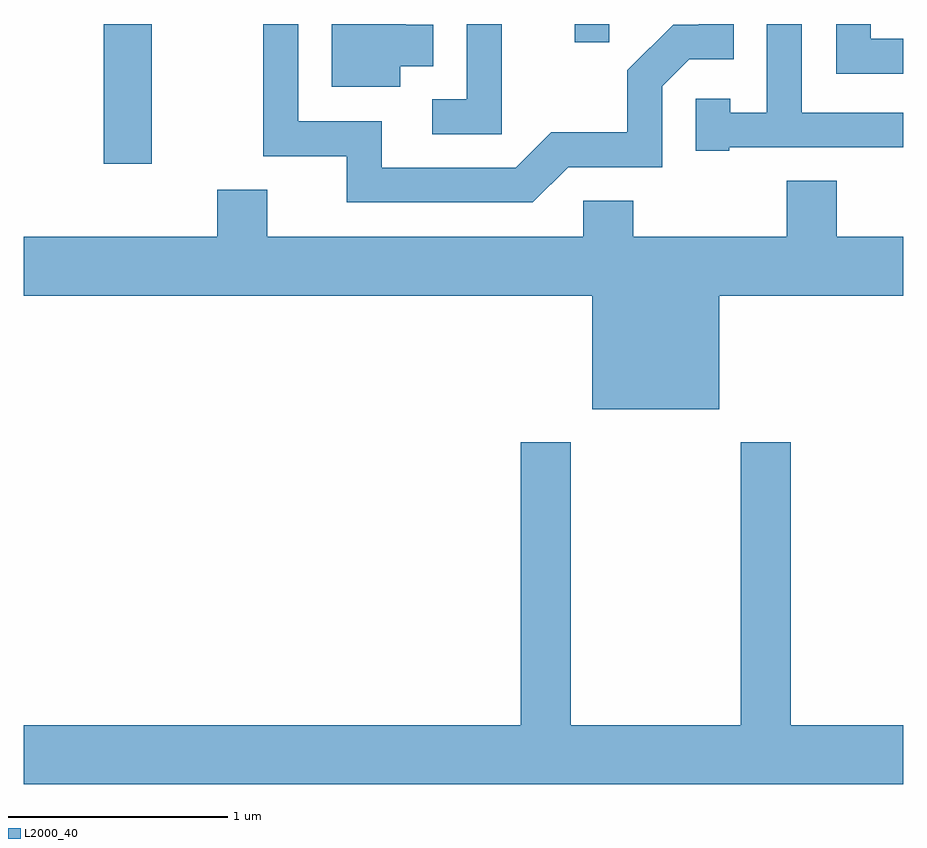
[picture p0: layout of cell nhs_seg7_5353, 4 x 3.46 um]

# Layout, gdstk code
import gdstk
lib = gdstk.Library(unit=1e-6, precision=1e-09)
def R(c, l, rs):  # rectangles x0, y0, x1, y1
    for r in rs: c.add(gdstk.rectangle(r[:2], r[2:], *l))
def P(c, l, *ps):  # polygons
    for p in ps: c.add(gdstk.Polygon(p, *l))
L2000_40 = (2000, 40)

nhs_seg7_5353 = lib.new_cell('nhs_seg7_5353')
R(nhs_seg7_5353, L2000_40, [(349.976,1681.616,350.194,1682.252), (352.116,1682.168,352.274,1682.252)])
P(nhs_seg7_5353, L2000_40, [(353.611,1682.184),(353.464,1682.184),(353.464,1682.252),(353.306,1682.252),(353.306,1682.026),(353.611,1682.026)],
  [(351.784,1682.252),(351.626,1682.252),(351.626,1681.909),(351.468,1681.909),(351.468,1681.751),(351.784,1681.751)],
  [(352.82,1681.691),(353.611,1681.691),(353.611,1681.849),(353.149,1681.849),(353.149,1682.252),(352.991,1682.252),(352.991,1681.849),(352.824,1681.849),(352.824,1681.913),(352.666,1681.913),(352.666,1681.676),(352.82,1681.676)],
  [(351.324,1682.061),(351.474,1682.061),(351.474,1682.249),(351.349,1682.249),(351.349,1682.252),(351.011,1682.252),(351.011,1681.966),(351.324,1681.966)],
  [(352.087,1681.601),(352.514,1681.601),(352.514,1681.969),(352.637,1682.091),(352.839,1682.091),(352.839,1682.252),(352.681,1682.252),(352.681,1682.249),(352.564,1682.249),(352.356,1682.042),(352.356,1681.759),(352.009,1681.759),(351.849,1681.599),(351.239,1681.599),(351.239,1681.809),(350.859,1681.809),(350.859,1682.252),(350.701,1682.252),(350.701,1681.651),(351.081,1681.651),(351.081,1681.441),(351.927,1681.441)],
  [(352.774,1681.016),(353.611,1681.016),(353.611,1681.284),(353.309,1681.284),(353.309,1681.539),(353.081,1681.539),(353.081,1681.284),(352.384,1681.284),(352.384,1681.449),(352.156,1681.449),(352.156,1681.284),(350.719,1681.284),(350.719,1681.499),(350.491,1681.499),(350.491,1681.284),(349.611,1681.284),(349.611,1681.016),(352.196,1681.016),(352.196,1680.501),(352.774,1680.501)],
  [(353.611,1679.064),(353.099,1679.064),(353.099,1680.349),(352.871,1680.349),(352.871,1679.064),(352.099,1679.064),(352.099,1680.349),(351.871,1680.349),(351.871,1679.064),(349.611,1679.064),(349.611,1678.796),(353.611,1678.796)])

lib.write_gds('nhs_seg7_5353.gds')
